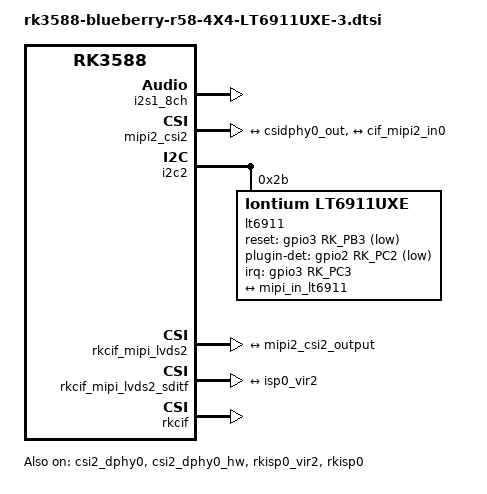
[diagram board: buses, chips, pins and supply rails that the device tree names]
// SPDX-License-Identifier: (GPL-2.0+ OR MIT)
/*
 * Copyright (c) 2021 Rockchip Electronics Co., Ltd.
 *
 */

#include "dt-bindings/usb/pd.h"



#if 1
/* lt6911 03 hdmi in (4 x lane ) */
/ {
	lt6911_3_dc: lt6911-3-dc {
		compatible = "rockchip,dummy-codec";
		#sound-dai-cells = <0>;
	};	

	lt6911_03-sound {
		compatible = "simple-audio-card";
		simple-audio-card,format = "i2s";
		simple-audio-card,name = "rockchip,lt6911-03";
		simple-audio-card,bitclock-master = <&dailink3_master>;
		simple-audio-card,frame-master = <&dailink3_master>;
		status = "okay";
		simple-audio-card,cpu {
		sound-dai = <&i2s1_8ch>;
		};
		dailink3_master: simple-audio-card,codec {
			sound-dai = <&lt6911_3_dc>;
		};
	};
};

&i2s1_8ch {
	status = "okay";
	pinctrl-0 = <&i2s1m0_lrck
		     &i2s1m0_sclk
		     &i2s1m0_sdi0>;
};
&mipi2_csi2 {
	status = "okay";

	ports {
		#address-cells = <1>;
		#size-cells = <0>;

		port@0 {
			reg = <0>;
			#address-cells = <1>;
			#size-cells = <0>;

			mipi2_csi2_input: endpoint@1 {
				reg = <1>;
				remote-endpoint = <&csidphy0_out>;
			};
		};

		port@1 {
			reg = <1>;
			#address-cells = <1>;
			#size-cells = <0>;

			mipi2_csi2_output: endpoint@0 {
				reg = <0>;
				remote-endpoint = <&cif_mipi2_in0>;
			};
		};
	};
};

&csi2_dphy0 {
	status = "okay";
		
	ports {
		#address-cells = <1>;
		#size-cells = <0>;
		port@0 {
			reg = <0>;
			#address-cells = <1>;
			#size-cells = <0>;

			mipi_in_lt6911: endpoint@1 {
				reg = <1>;
				remote-endpoint = <&lt6911_out>;
				data-lanes = <1 2 3 4>;
			};
		};
		port@1 {
			reg = <1>;
			#address-cells = <1>;
			#size-cells = <0>;

			csidphy0_out: endpoint@0 {
				reg = <0>;
				remote-endpoint = <&mipi2_csi2_input>;
			};
		};
	};
};

&csi2_dphy0_hw {
	status = "okay";
};

&i2c2 {
	pinctrl-names = "default";
	pinctrl-0 = <&i2c2m0_xfer>;
	status = "okay";

	lt6911:lt6911@2b {
		compatible = "lontium,lt6911uxe";
		status = "okay";
		reg = <0x2b>;
		clocks = <&ext_cam_clk>;
		clock-names = "xvclk";
		power-domains = <&power RK3588_PD_VI>;
		pinctrl-names = "default";
		pinctrl-0 = <&lt6911uxc_3_pin>;
		interrupt-parent = <&gpio3>;              
		interrupts = <RK_PC3 IRQ_TYPE_LEVEL_LOW>; 
		//power-gpios = <&gpio3 RK_PB2 GPIO_ACTIVE_HIGH>;
		reset-gpios = <&gpio3 RK_PB3 GPIO_ACTIVE_LOW>;
		plugin-det-gpios = <&gpio2 RK_PC2 GPIO_ACTIVE_LOW>;
		rockchip,camera-module-index = <2>;
		rockchip,camera-module-facing = "back";
		rockchip,camera-module-name = "HDMI-MIPI2";
		rockchip,camera-module-lens-name = "LT6911UXE2";
		port {
			lt6911_out: endpoint {
				remote-endpoint = <&mipi_in_lt6911>;
				data-lanes = <1 2 3 4>;
			};
		};
	};
};

&rkcif_mipi_lvds2 {
	status = "okay";

	port {
		cif_mipi2_in0: endpoint {
			remote-endpoint = <&mipi2_csi2_output>;
		};
	};
};

&rkcif_mipi_lvds2_sditf {
	status = "okay";

	port {
		mipi_lvds2_sditf: endpoint {
			remote-endpoint = <&isp0_vir2>;
		};
	};
};


&rkisp0_vir2 {
	status = "okay";

	port {
		#address-cells = <1>;
		#size-cells = <0>;

		isp0_vir2: endpoint@0 {
			reg = <0>;
			remote-endpoint = <&mipi_lvds2_sditf>;
		};
	};
};

/* lt6911 03 hdmi in end (4 x lane ) */ 

#endif


&rkcif {
	status = "okay";
};

&rkcif_mmu {
	status = "okay";
};

&rkisp0 {
	status = "okay";
};

&isp0_mmu {
	status = "okay";
};


&pinctrl {

	hdmiin {
		lt6911uxc_3_pin: lt6911uxc-3-pin {
			rockchip,pins = <2 RK_PC2 RK_FUNC_GPIO &pcfg_pull_none>,// HDMIRX_DET_LT6911
					<3 RK_PC3 RK_FUNC_GPIO &pcfg_pull_none>,        // LT6911UXC_INT
					<3 RK_PB3 RK_FUNC_GPIO &pcfg_pull_none>;        // LT6911_RST
			};
			
		};
};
